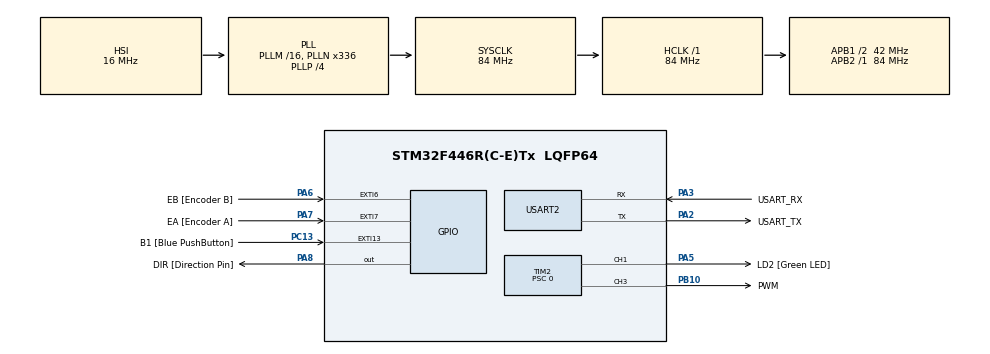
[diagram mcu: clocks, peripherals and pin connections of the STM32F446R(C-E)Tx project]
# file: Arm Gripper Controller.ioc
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Mcu.Family=STM32F4
Mcu.Name=STM32F446R(C-E)Tx
Mcu.Package=LQFP64
NVIC.EXTI15_10_IRQn=true\:0\:0\:false\:false\:true\:true\:true\:true
NVIC.EXTI9_5_IRQn=true\:0\:0\:false\:false\:true\:true\:true\:true
NVIC.PriorityGroup=NVIC_PRIORITYGROUP_0
NVIC.TIM1_UP_TIM10_IRQn=true\:0\:0\:false\:false\:true\:true\:true\:true
NVIC.USART2_IRQn=true\:0\:0\:false\:false\:true\:true\:true\:true
PA13.GPIO_Label=TMS
PA13.Mode=Serial_Wire
PA13.Signal=SYS_JTMS-SWDIO
PA14.GPIO_Label=TCK
PA14.Mode=Serial_Wire
PA14.Signal=SYS_JTCK-SWCLK
PA2.GPIO_Label=USART_TX
PA2.Mode=Asynchronous
PA2.Signal=USART2_TX
PA3.GPIO_Label=USART_RX
PA3.Mode=Asynchronous
PA3.Signal=USART2_RX
PA5.GPIO_Label=LD2 [Green LED]
PA5.Signal=S_TIM2_CH1_ETR
PA6.GPIO_Label=EB [Encoder B]
PA6.Signal=GPXTI6
PA7.GPIO_Label=EA [Encoder A]
PA7.Signal=GPXTI7
PA8.GPIO_Label=DIR [Direction Pin]
PA8.Signal=GPIO_Output
PB10.GPIO_Label=PWM
PB10.Signal=S_TIM2_CH3
PB3.GPIO_Label=SWO
PB3.Signal=SYS_JTDO-SWO
PC13.GPIO_Label=B1 [Blue PushButton]
PC13.GPIO_ModeDefaultEXTI=GPIO_MODE_IT_FALLING
PC13.GPIO_PuPd=GPIO_PULLUP
PC13.Signal=GPXTI13
PC14-OSC32_IN.Mode=LSE-External-Oscillator
PC14-OSC32_IN.Signal=RCC_OSC32_IN
PC15-OSC32_OUT.Mode=LSE-External-Oscillator
PC15-OSC32_OUT.Signal=RCC_OSC32_OUT
PH0-OSC_IN.Mode=HSE-External-Oscillator
PH0-OSC_IN.Signal=RCC_OSC_IN
PH1-OSC_OUT.Mode=HSE-External-Oscillator
PH1-OSC_OUT.Signal=RCC_OSC_OUT
ProjectManager.HeapSize=0x200
ProjectManager.StackSize=0x400
ProjectManager.TargetToolchain=STM32CubeIDE
RCC.48MHZClocksFreq_Value=84000000
RCC.AHBFreq_Value=84000000
RCC.APB1CLKDivider=RCC_HCLK_DIV2
RCC.APB1Freq_Value=42000000
RCC.APB1TimFreq_Value=84000000
RCC.APB2Freq_Value=84000000
RCC.APB2TimFreq_Value=84000000
RCC.CortexFreq_Value=84000000
RCC.FLatency-AdvancedSettings=FLASH_LATENCY_2
RCC.HCLKFreq_Value=84000000
RCC.HSE_VALUE=8000000
RCC.HSI_VALUE=16000000
RCC.PLLN=336
RCC.PLLP=RCC_PLLP_DIV4
RCC.SYSCLKFreq_VALUE=84000000
RCC.SYSCLKSource=RCC_SYSCLKSOURCE_PLLCLK
RCC.USBFreq_Value=168000000
RCC.VCOOutputFreq_Value=336000000
SH.S_TIM2_CH1_ETR.0=TIM2_CH1,PWM Generation1 CH1
SH.S_TIM2_CH3.0=TIM2_CH3,PWM Generation3 CH3
TIM10.Period=2000
TIM10.Prescaler=83
TIM2.Channel-PWM\ Generation1\ CH1=TIM_CHANNEL_1
TIM2.Channel-PWM\ Generation3\ CH3=TIM_CHANNEL_3
TIM2.Period=1000
TIM2.Prescaler=0
TIM2.Pulse-PWM\ Generation1\ CH1=0
TIM2.Pulse-PWM\ Generation3\ CH3=0
USART2.VirtualMode=VM_ASYNC
VP_TIM10_VS_ClockSourceINT.Mode=Enable_Timer
board=NUCLEO-F446RE

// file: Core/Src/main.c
/* USER CODE BEGIN Header */
/**
  ******************************************************************************
  * @file           : main.c
  * @brief          : Main program body
  ******************************************************************************
  * @attention
  *
  * Copyright (c) 2024 STMicroelectronics.
  * All rights reserved.
  *
  * This software is licensed under terms that can be found in the LICENSE file
  * in the root directory of this software component.
  * If no LICENSE file comes with this software, it is provided AS-IS.
  *
  ******************************************************************************
  */
/* USER CODE END Header */
#include "main.h"

/* USER CODE BEGIN Includes */
#include <stdbool.h>
#include <string.h>
#include <stdio.h>
#include <stdlib.h>
#include "linear_buffer.h"
/* USER CODE END Includes */

TIM_HandleTypeDef htim2;
TIM_HandleTypeDef htim10;

UART_HandleTypeDef huart2;

/* USER CODE BEGIN PV */

// UART Variables
linear_buffer linear_buff;
uint8_t uart_rx_buff = 0;
uint8_t buffer_ready = 0;
uint8_t rx_buffer[BUFF_SIZE] = {0};

// Current and goal position variables
int32_t position = 0;
int32_t goal = 0;
uint8_t encoderA = 0, encoderB = 0;

// PID Variables
int16_t error_prior = 0;
int16_t integral_prior = 0;
int16_t kP = 500;
int16_t kI = 0;
int16_t kD = 0;
int16_t bias = 0;
/* USER CODE END PV */

void SystemClock_Config(void);
static void MX_GPIO_Init(void);
static void MX_USART2_UART_Init(void);
static void MX_TIM2_Init(void);
static void MX_TIM10_Init(void);
/* USER CODE BEGIN PFP */

// Adding this so that printf function can be used on to print on console
#ifdef __GNUC__
/* With GCC/RAISONANCE, small printf (option LD Linker->Libraries->Small printf
   set to 'Yes') calls __io_putchar() */
#define PUTCHAR_PROTOTYPE int __io_putchar(int ch)
#else
#define PUTCHAR_PROTOTYPE int fputc(int ch, FILE *f)
#endif /* __GNUC__ */
/* USER CODE END PFP */

/* USER CODE BEGIN 0 */

/*
 * void motor_PID(void)
 *
 * Performs the PID loop, sending the appropriate PWM and
 * direction signals on the associated GPIO ports
 *
 * @parameters
 * void
 *
 * @returns
 * void
 *
 */
void motor_PID(void)
{

  // Getting PID output
  int16_t error = goal - position;
  int16_t integral = integral_prior + error;
  int16_t derivative = error - error_prior;
  int32_t output = kP*error + kI*integral + kD*derivative + bias;

  // Setting the direction of motor
  if (0 < output) HAL_GPIO_WritePin(DIR_GPIO_Port, DIR_Pin, GPIO_PIN_SET);
  else HAL_GPIO_WritePin(DIR_GPIO_Port, DIR_Pin, GPIO_PIN_RESET);

  // To prevent integral portion from saturating, putting a limit on output
  if (INT16_MAX <= output)
  {
	integral -= error;
	output = INT16_MAX;
  }
  else if (INT16_MIN >= output)
  {
	integral -= error;
	output = INT16_MIN;
  }

  // Updating the previous error and integral values
  error_prior = error;
  integral_prior = integral;

  // Setting the PWM duty cycle based on the output (PWM frequency = 84 kHz)
  htim2.Instance->CCR3 = (abs(output) * htim2.Init.Period)/INT16_MAX;
  htim2.Instance->CCR1 = (abs(output) * htim2.Init.Period)/INT16_MAX;

//  // Some print statements for potential debugging
//  printf("Curr position: %ld\n", position);
//  printf("PWM output %ld\n\n", output);
}
/* USER CODE END 0 */

int main(void)
{

  /* MCU Configuration--------------------------------------------------------*/

  /* Reset of all peripherals, Initializes the Flash interface and the Systick. */
  HAL_Init();

  /* Configure the system clock */
  SystemClock_Config();

  /* Initialize all configured peripherals */
  MX_GPIO_Init();
  MX_USART2_UART_Init();
  MX_TIM2_Init();
  MX_TIM10_Init();

  /* Infinite loop */
  /* USER CODE BEGIN WHILE */

  // Enable UART Receive Interrupt Service Routine
  HAL_UART_Receive_IT(&huart2, &uart_rx_buff, 1);

  // Enable Timer Interrupt Service Routine
  HAL_TIM_Base_Start_IT(&htim10);

  // Enable PWM for the LED and the motor
  HAL_TIM_Base_Start(&htim2);
  HAL_TIM_PWM_Init(&htim2);
  HAL_TIM_PWM_Start(&htim2, TIM_CHANNEL_1);
  HAL_TIM_PWM_Start(&htim2, TIM_CHANNEL_3);

  while (1)
  {
    /* USER CODE END WHILE */

    /* USER CODE BEGIN 3 */
	// If received a new position, print it over the serial connection
	if (buffer_ready)
	{
	  goal = atoi((char *)rx_buffer);
	  printf("Goal Pos: %ld", goal);
	  memset(rx_buffer, 0, BUFF_SIZE);
	  buffer_ready = 0;
	}

	// Print current position over the serial connection
	printf("Curr Pos: %ld\n", position);
  }
  /* USER CODE END 3 */
}

void SystemClock_Config(void)
{
  RCC_OscInitTypeDef RCC_OscInitStruct = {0};
  RCC_ClkInitTypeDef RCC_ClkInitStruct = {0};

  /** Configure the main internal regulator output voltage
  */
  __HAL_RCC_PWR_CLK_ENABLE();
  __HAL_PWR_VOLTAGESCALING_CONFIG(PWR_REGULATOR_VOLTAGE_SCALE3);

  /** Initializes the RCC Oscillators according to the specified parameters
  * in the RCC_OscInitTypeDef structure.
  */
  RCC_OscInitStruct.OscillatorType = RCC_OSCILLATORTYPE_HSI;
  RCC_OscInitStruct.HSIState = RCC_HSI_ON;
  RCC_OscInitStruct.HSICalibrationValue = RCC_HSICALIBRATION_DEFAULT;
  RCC_OscInitStruct.PLL.PLLState = RCC_PLL_ON;
  RCC_OscInitStruct.PLL.PLLSource = RCC_PLLSOURCE_HSI;
  RCC_OscInitStruct.PLL.PLLM = 16;
  RCC_OscInitStruct.PLL.PLLN = 336;
  RCC_OscInitStruct.PLL.PLLP = RCC_PLLP_DIV4;
  RCC_OscInitStruct.PLL.PLLQ = 2;
  RCC_OscInitStruct.PLL.PLLR = 2;
  if (HAL_RCC_OscConfig(&RCC_OscInitStruct) != HAL_OK)
  {
    Error_Handler();
  }

  /** Initializes the CPU, AHB and APB buses clocks
  */
  RCC_ClkInitStruct.ClockType = RCC_CLOCKTYPE_HCLK|RCC_CLOCKTYPE_SYSCLK
                              |RCC_CLOCKTYPE_PCLK1|RCC_CLOCKTYPE_PCLK2;
  RCC_ClkInitStruct.SYSCLKSource = RCC_SYSCLKSOURCE_PLLCLK;
  RCC_ClkInitStruct.AHBCLKDivider = RCC_SYSCLK_DIV1;
  RCC_ClkInitStruct.APB1CLKDivider = RCC_HCLK_DIV2;
  RCC_ClkInitStruct.APB2CLKDivider = RCC_HCLK_DIV1;

  if (HAL_RCC_ClockConfig(&RCC_ClkInitStruct, FLASH_LATENCY_2) != HAL_OK)
  {
    Error_Handler();
  }
}

static void MX_TIM2_Init(void)
{

  TIM_MasterConfigTypeDef sMasterConfig = {0};
  TIM_OC_InitTypeDef sConfigOC = {0};

  htim2.Instance = TIM2;
  htim2.Init.Prescaler = 0;
  htim2.Init.CounterMode = TIM_COUNTERMODE_UP;
  htim2.Init.Period = 1000;
  htim2.Init.ClockDivision = TIM_CLOCKDIVISION_DIV1;
  htim2.Init.AutoReloadPreload = TIM_AUTORELOAD_PRELOAD_DISABLE;
  if (HAL_TIM_PWM_Init(&htim2) != HAL_OK)
  {
    Error_Handler();
  }
  sMasterConfig.MasterOutputTrigger = TIM_TRGO_RESET;
  sMasterConfig.MasterSlaveMode = TIM_MASTERSLAVEMODE_DISABLE;
  if (HAL_TIMEx_MasterConfigSynchronization(&htim2, &sMasterConfig) != HAL_OK)
  {
    Error_Handler();
  }
  sConfigOC.OCMode = TIM_OCMODE_PWM1;
  sConfigOC.Pulse = 0;
  sConfigOC.OCPolarity = TIM_OCPOLARITY_HIGH;
  sConfigOC.OCFastMode = TIM_OCFAST_DISABLE;
  if (HAL_TIM_PWM_ConfigChannel(&htim2, &sConfigOC, TIM_CHANNEL_1) != HAL_OK)
  {
    Error_Handler();
  }
  if (HAL_TIM_PWM_ConfigChannel(&htim2, &sConfigOC, TIM_CHANNEL_3) != HAL_OK)
  {
    Error_Handler();
  }
  HAL_TIM_MspPostInit(&htim2);

}

static void MX_TIM10_Init(void)
{

  htim10.Instance = TIM10;
  htim10.Init.Prescaler = 83;
  htim10.Init.CounterMode = TIM_COUNTERMODE_UP;
  htim10.Init.Period = 2000;
  htim10.Init.ClockDivision = TIM_CLOCKDIVISION_DIV1;
  htim10.Init.AutoReloadPreload = TIM_AUTORELOAD_PRELOAD_DISABLE;
  if (HAL_TIM_Base_Init(&htim10) != HAL_OK)
  {
    Error_Handler();
  }

}

static void MX_USART2_UART_Init(void)
{

  huart2.Instance = USART2;
  huart2.Init.BaudRate = 115200;
  huart2.Init.WordLength = UART_WORDLENGTH_8B;
  huart2.Init.StopBits = UART_STOPBITS_1;
  huart2.Init.Parity = UART_PARITY_NONE;
  huart2.Init.Mode = UART_MODE_TX_RX;
  huart2.Init.HwFlowCtl = UART_HWCONTROL_NONE;
  huart2.Init.OverSampling = UART_OVERSAMPLING_16;
  if (HAL_UART_Init(&huart2) != HAL_OK)
  {
    Error_Handler();
  }

}

static void MX_GPIO_Init(void)
{
  GPIO_InitTypeDef GPIO_InitStruct = {0};

  /* GPIO Ports Clock Enable */
  __HAL_RCC_GPIOC_CLK_ENABLE();
  __HAL_RCC_GPIOH_CLK_ENABLE();
  __HAL_RCC_GPIOA_CLK_ENABLE();
  __HAL_RCC_GPIOB_CLK_ENABLE();

  /*Configure GPIO pin Output Level */
  HAL_GPIO_WritePin(DIR_GPIO_Port, DIR_Pin, GPIO_PIN_RESET);

  /*Configure GPIO pin : B1_Pin */
  GPIO_InitStruct.Pin = B1_Pin;
  GPIO_InitStruct.Mode = GPIO_MODE_IT_FALLING;
  GPIO_InitStruct.Pull = GPIO_PULLUP;
  HAL_GPIO_Init(B1_GPIO_Port, &GPIO_InitStruct);

  /*Configure GPIO pins : EB_Pin EA_Pin */
  GPIO_InitStruct.Pin = EB_Pin|EA_Pin;
  GPIO_InitStruct.Mode = GPIO_MODE_IT_RISING;
  GPIO_InitStruct.Pull = GPIO_NOPULL;
  HAL_GPIO_Init(GPIOA, &GPIO_InitStruct);

  /*Configure GPIO pin : DIR_Pin */
  GPIO_InitStruct.Pin = DIR_Pin;
  GPIO_InitStruct.Mode = GPIO_MODE_OUTPUT_PP;
  GPIO_InitStruct.Pull = GPIO_NOPULL;
  GPIO_InitStruct.Speed = GPIO_SPEED_FREQ_LOW;
  HAL_GPIO_Init(DIR_GPIO_Port, &GPIO_InitStruct);

  /* EXTI interrupt init*/
  HAL_NVIC_SetPriority(EXTI9_5_IRQn, 0, 0);
  HAL_NVIC_EnableIRQ(EXTI9_5_IRQn);

  HAL_NVIC_SetPriority(EXTI15_10_IRQn, 0, 0);
  HAL_NVIC_EnableIRQ(EXTI15_10_IRQn);

}

/* USER CODE BEGIN 4 */
void HAL_UART_RxCpltCallback(UART_HandleTypeDef *huart)
{

  // Add the received byte (via UART) to the linear buffer
  linear_buff_add(&linear_buff, uart_rx_buff);

  // Check if the received byte was a '\n', if yes then copy the data
  // from our linear buffer to our processing buffer
  if ('\n' == uart_rx_buff){
	memcpy(rx_buffer, linear_buff.data, BUFF_SIZE);
	buffer_ready = 1;
	linear_buff_flush(&linear_buff);
  }

  // Enable the Interrupt Service Routine again
  HAL_UART_Receive_IT(&huart2, &uart_rx_buff, 1);
}

void HAL_TIM_PeriodElapsedCallback(TIM_HandleTypeDef *htim)
{
  // Performing the PID loop every 2ms (with timer interrupt)
  motor_PID();
}

void HAL_GPIO_EXTI_Callback(uint16_t GPIO_Pin)
{

  // Read encoder pins
  encoderA = HAL_GPIO_ReadPin(EA_GPIO_Port, EA_Pin);
  encoderB = HAL_GPIO_ReadPin(EB_GPIO_Port, EB_Pin);

  // Check which Pin caused the interrupt
  switch(GPIO_Pin){

  	// If the blue button is pressed
    case B1_Pin:
	  printf("oh my\n");
	  break;

	// If encoder A is triggered
    case EA_Pin:
	  if (GPIO_PIN_SET == encoderA)
	  	{
		  if (GPIO_PIN_SET == encoderB) position--;
		  else position++;
//		  // For debugging, printing position at every interrupt
//		  printf("Curr position: %ld\n", position);
	  	}
	  break;

	// If encoder B is triggered
    case EB_Pin:
      if (GPIO_PIN_SET == encoderB)
   	  	{
   		  if (GPIO_PIN_SET == encoderA) position++;
   		  else position--;
//   	  // For debugging, printing position at every interrupt
//   	  printf("Curr position: %ld\n", position);
   	  	}
   	  break;

   	// If interrupt was caused by any other GPIO pin
    default:
      printf("what the fuuuuuuuck?\n");
      break;
  }
}

// printf Implementation over UART I found online :)
PUTCHAR_PROTOTYPE
{
  /* Place your implementation of fputc here */
  /* e.g. write a character to the USART1 and Loop until the end of transmission */
  HAL_UART_Transmit(&huart2, (uint8_t *)&ch, 1, 100);

  return ch;
}
/* USER CODE END 4 */

void Error_Handler(void)
{
  __disable_irq();
  while (1)
  {
  }
}
